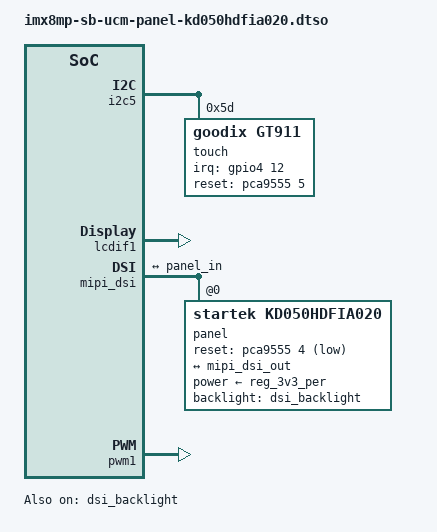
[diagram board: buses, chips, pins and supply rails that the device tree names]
// SPDX-License-Identifier: (GPL-2.0+ OR MIT)
/*
 * Copyright 2021 CompuLab
 *
 * Device tree overlay for KD050HDFIA020-C020A panel connector to Compulab
 * SB-UCM-iMX8PLUS.
 */

/dts-v1/;
/plugin/;

#include <dt-bindings/gpio/gpio.h>
#include <dt-bindings/interrupt-controller/irq.h>

&dsi_backlight {
	status = "okay";
};

&i2c5 {
	status = "okay";

	touch@5d {
		compatible = "goodix,gt911";
		reg = <0x5d>;

		pinctrl-names = "default";
		pinctrl-0 = <&pinctrl_dsi_touch>;

		interrupt-parent = <&gpio4>;
		interrupts = <12 IRQ_TYPE_LEVEL_HIGH>;

                irq-gpios = <&gpio4 12 GPIO_ACTIVE_HIGH>;
		reset-gpios = <&pca9555 5 GPIO_ACTIVE_HIGH>;
        };
};

&lcdif1 {
	status = "okay";
};

&mipi_dsi {
	#address-cells = <1>;
	#size-cells = <0>;
	samsung,esc-clock-frequency = <20000000>;
	status = "okay";

	panel@0 {
		compatible = "startek,kd050hdfia020", "ilitek,ili9881c";
		reg = <0>;
		pinctrl-names = "default";
		pinctrl-0 = <&pinctrl_dsi_panel>;

		reset-gpio = <&pca9555 4 GPIO_ACTIVE_LOW>;
		power-supply = <&reg_3v3_per>;

		backlight = <&dsi_backlight>;

		port {
			panel_in: endpoint {
				remote-endpoint = <&mipi_dsi_out>;
				data-lanes = <1 2 3 4>;
			};
		};
	};

	ports {
		port@1 {
			reg = <1>;

			mipi_dsi_out: endpoint {
				remote-endpoint = <&panel_in>;
				data-lanes = <1 2 3 4>;
				lane-polarities = <0 0 0 0 0>;
			};
		};
	};
};

&pwm1 {
	status = "okay";
};
